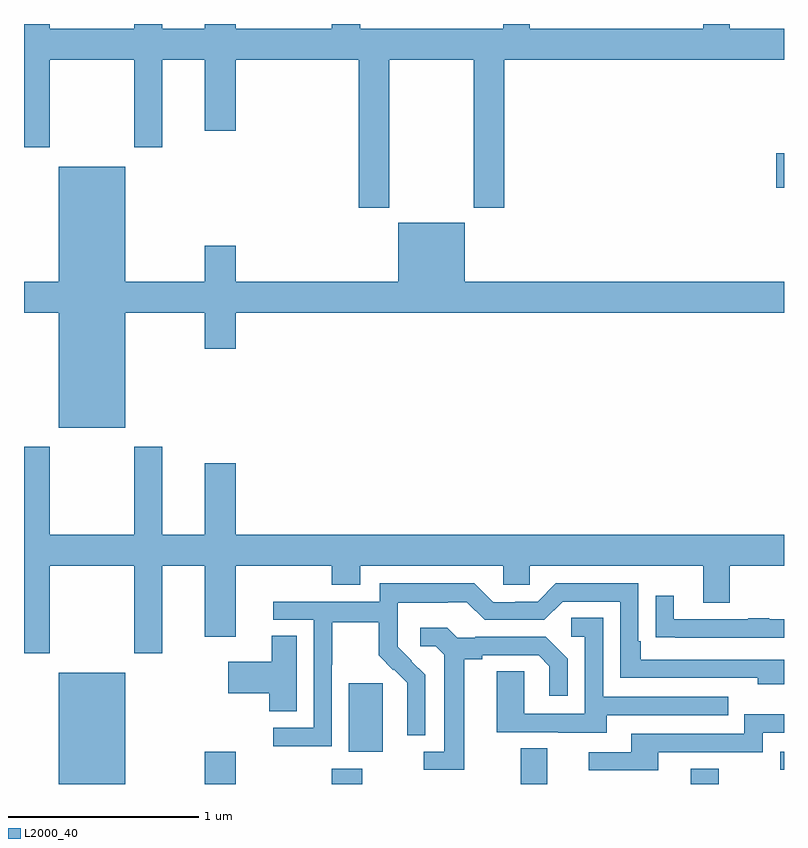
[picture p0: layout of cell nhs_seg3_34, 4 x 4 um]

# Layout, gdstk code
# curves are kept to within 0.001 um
import gdstk
lib = gdstk.Library(unit=1e-6, precision=1e-09)
def R(c, l, rs):  # rectangles x0, y0, x1, y1
    for r in rs: c.add(gdstk.rectangle(r[:2], r[2:], *l))
def P(c, l, *ps):  # polygons
    for p in ps: c.add(gdstk.Polygon(p, *l))
L2000_40 = (2000, 40)

nhs_seg3_34 = lib.new_cell('nhs_seg3_34')
R(nhs_seg3_34, L2000_40, [(111.182,734.4,111.532,734.986), (111.95,734.4,112.114,734.569), (112.619,734.4,112.779,734.479), (113.615,734.4,113.755,734.588), (114.509,734.4,114.657,734.479), (114.981,734.475,115,734.571), (112.709,734.57,112.888,734.931), (114.96,737.537,115,737.72)])
P(nhs_seg3_34, L2000_40, [(112.923,738.212),(113.368,738.212),(113.368,737.433),(113.528,737.433),(113.528,738.212),(115,738.212),(115,738.376),(114.715,738.376),(114.715,738.4),(114.575,738.4),(114.575,738.376),(113.661,738.376),(113.661,738.4),(113.523,738.4),(113.523,738.376),(112.771,738.376),(112.771,738.4),(112.619,738.4),(112.619,738.376),(112.114,738.376),(112.114,738.4),(111.95,738.4),(111.95,738.376),(111.727,738.376),(111.727,738.4),(111.58,738.4),(111.58,738.376),(111.135,738.376),(111.135,738.4),(111,738.4),(111,737.751),(111.135,737.751),(111.135,738.212),(111.58,738.212),(111.58,737.751),(111.727,737.751),(111.727,738.212),(111.95,738.212),(111.95,737.838),(112.114,737.838),(112.114,738.212),(112.763,738.212),(112.763,737.433),(112.923,737.433)],
  [(111.532,736.88),(111.95,736.88),(111.95,736.692),(112.114,736.692),(112.114,736.88),(115,736.88),(115,737.044),(113.32,737.044),(113.32,737.353),(112.97,737.353),(112.97,737.044),(112.114,737.044),(112.114,737.233),(111.95,737.233),(111.95,737.044),(111.532,737.044),(111.532,737.65),(111.182,737.65),(111.182,737.044),(111,737.044),(111,736.88),(111.182,736.88),(111.182,736.274),(111.532,736.274)],
  [(111.135,735.548),(111.58,735.548),(111.58,735.087),(111.727,735.087),(111.727,735.548),(111.95,735.548),(111.95,735.174),(112.114,735.174),(112.114,735.548),(112.619,735.548),(112.619,735.449),(112.771,735.449),(112.771,735.548),(113.523,735.548),(113.523,735.45),(113.661,735.45),(113.661,735.548),(114.575,735.548),(114.575,735.354),(114.715,735.354),(114.715,735.548),(115,735.548),(115,735.712),(112.114,735.712),(112.114,736.087),(111.95,736.087),(111.95,735.712),(111.727,735.712),(111.727,736.174),(111.58,736.174),(111.58,735.712),(111.135,735.712),(111.135,736.174),(111,736.174),(111,735.087),(111.135,735.087)],
  [(112.62,735.028),(112.623,735.028),(112.623,735.252),(112.867,735.252),(112.867,735.077),(112.944,735),(112.947,735.003),(113.018,734.933),(113.018,734.81),(113.016,734.81),(113.016,734.656),(113.112,734.656),(113.112,734.974),(112.966,735.122),(112.966,735.219),(112.968,735.219),(112.968,735.353),(113.231,735.353),(113.231,735.357),(113.331,735.357),(113.424,735.264),(113.739,735.264),(113.835,735.36),(114.138,735.36),(114.138,734.958),(114.863,734.958),(114.863,734.924),(115,734.924),(115,735.054),(114.247,735.054),(114.247,735.151),(114.234,735.151),(114.234,735.456),(113.799,735.456),(113.703,735.36),(113.585,735.36),(113.585,735.357),(113.469,735.357),(113.369,735.457),(112.872,735.457),(112.872,735.36),(112.311,735.36),(112.311,735.264),(112.524,735.264),(112.524,734.697),(112.311,734.697),(112.311,734.599),(112.62,734.599)],
  [(115,735.267),(114.923,735.267),(114.923,735.272),(114.811,735.272),(114.811,735.267),(114.421,735.267),(114.421,735.391),(114.325,735.391),(114.325,735.172),(114.427,735.172),(114.427,735.171),(115,735.171)],
  [(114.067,734.763),(114.707,734.763),(114.707,734.859),(114.048,734.859),(114.048,735.275),(113.88,735.275),(113.88,735.174),(113.952,735.174),(113.952,734.769),(113.634,734.769),(113.634,734.993),(113.489,734.993),(113.489,734.673),(113.813,734.673),(113.813,734.669),(114.067,734.669)],
  [(113.317,735.056),(113.413,735.056),(113.413,735.078),(113.708,735.078),(113.765,735.021),(113.765,734.865),(113.862,734.865),(113.862,735.058),(113.746,735.174),(113.374,735.174),(113.374,735.171),(113.28,735.171),(113.228,735.223),(113.085,735.223),(113.085,735.126),(113.166,735.126),(113.213,735.079),(113.213,734.571),(113.103,734.571),(113.103,734.475),(113.317,734.475)],
  [(112.435,735.179),(112.304,735.179),(112.304,735.043),(112.074,735.043),(112.074,734.878),(112.292,734.878),(112.292,734.782),(112.435,734.782)],
  [(114.337,734.568),(114.888,734.568),(114.888,734.67),(115,734.67),(115,734.767),(114.792,734.767),(114.792,734.664),(114.197,734.664),(114.197,734.568),(113.973,734.568),(113.973,734.472),(114.337,734.472)])

lib.write_gds('nhs_seg3_34.gds')
